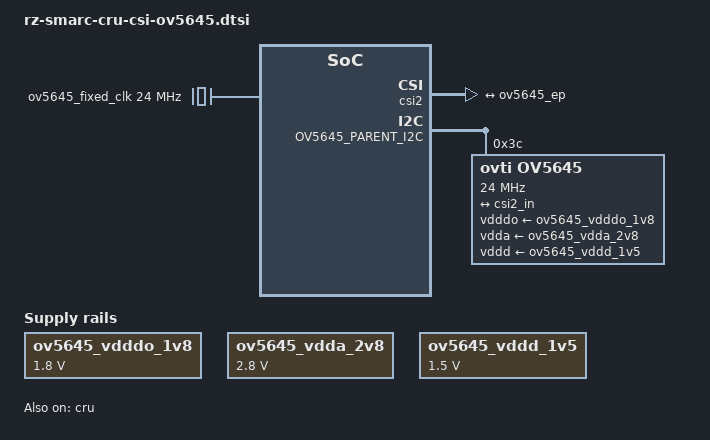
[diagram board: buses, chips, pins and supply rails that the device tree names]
// SPDX-License-Identifier: GPL-2.0
/*
 * Common Device Tree for the RZ/G2L SMARC EVK (and alike EVKs) with
 * OV5645 camera connected to CSI and CRU enabled.
 *
 * Copyright (C) 2023 Renesas Electronics Corp.
 */

&{/} {
	ov5645_vdddo_1v8: 1p8v {
		compatible = "regulator-fixed";
		regulator-name = "camera_vdddo";
		regulator-min-microvolt = <1800000>;
		regulator-max-microvolt = <1800000>;
		regulator-always-on;
	};

	ov5645_vdda_2v8: 2p8v {
		compatible = "regulator-fixed";
		regulator-name = "camera_vdda";
		regulator-min-microvolt = <2800000>;
		regulator-max-microvolt = <2800000>;
		regulator-always-on;
	};

	ov5645_vddd_1v5: 1p5v {
		compatible = "regulator-fixed";
		regulator-name = "camera_vddd";
		regulator-min-microvolt = <1500000>;
		regulator-max-microvolt = <1500000>;
		regulator-always-on;
	};

	ov5645_fixed_clk: osc25250-clk {
		compatible = "fixed-clock";
		#clock-cells = <0>;
		clock-frequency = <24000000>;
	};
};

&cru {
	status = "okay";
};

&csi2 {
	status = "okay";

	ports {
		port@0 {
			csi2_in: endpoint {
				clock-lanes = <0>;
				data-lanes = <1 2>;
				remote-endpoint = <&ov5645_ep>;
			};
		};
	};
};

&OV5645_PARENT_I2C {
	#address-cells = <1>;
	#size-cells = <0>;

	ov5645: camera@3c {
		compatible = "ovti,ov5645";
		reg = <0x3c>;
		clocks = <&ov5645_fixed_clk>;
		clock-frequency = <24000000>;
		vdddo-supply = <&ov5645_vdddo_1v8>;
		vdda-supply = <&ov5645_vdda_2v8>;
		vddd-supply = <&ov5645_vddd_1v5>;

		port {
			ov5645_ep: endpoint {
				clock-lanes = <0>;
				data-lanes = <1 2>;
				remote-endpoint = <&csi2_in>;
			};
		};
	};
};
